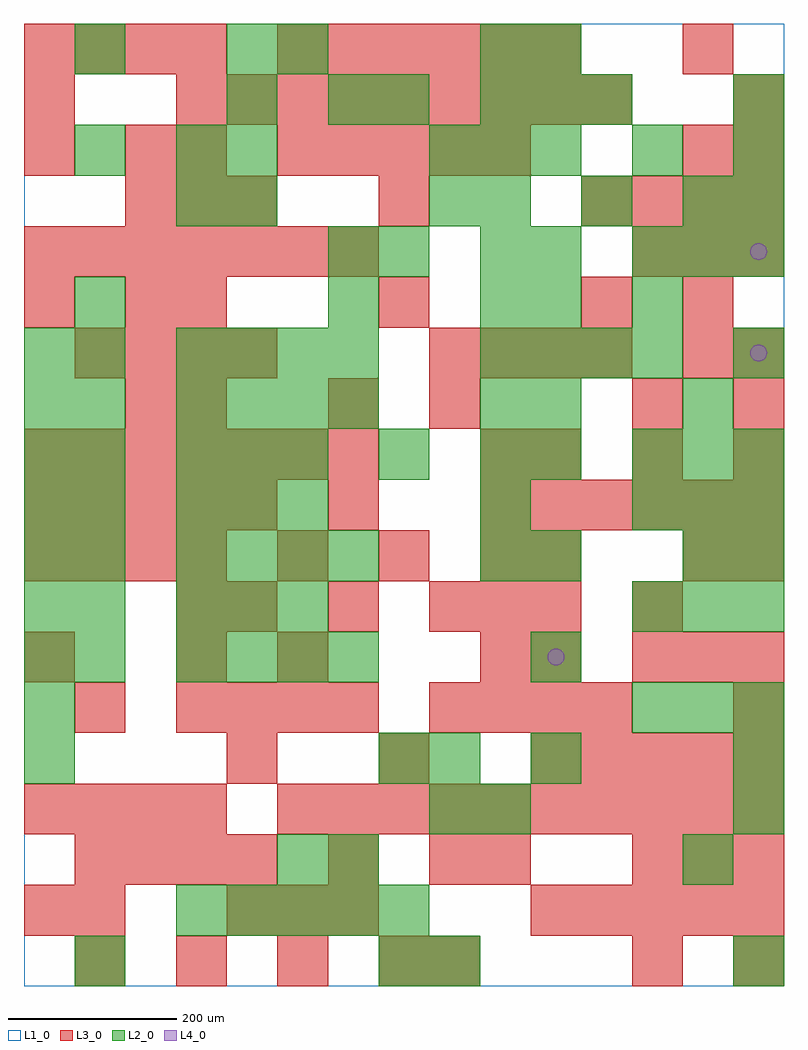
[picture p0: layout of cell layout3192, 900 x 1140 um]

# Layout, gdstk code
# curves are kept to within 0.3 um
import gdstk
lib = gdstk.Library(unit=1e-6, precision=1e-09)
def R(c, l, rs):  # rectangles x0, y0, x1, y1
    for r in rs: c.add(gdstk.rectangle(r[:2], r[2:], *l))
def A(c, l, x, y, w, h, nx, ny, dx, dy):  # array of equal rectangles
    R(c, l, [(x+i*dx, y+j*dy, x+i*dx+w, y+j*dy+h) for i in range(nx) for j in range(ny)])
def P(c, l, *ps):  # polygons
    for p in ps: c.add(gdstk.Polygon(p, *l))
L1_0 = (1, 0)
L2_0 = (2, 0)
L3_0 = (3, 0)
L4_0 = (4, 0)

layout3192 = lib.new_cell('layout3192')
R(layout3192, L1_0, [(0,0,900,1140)])
A(layout3192, L2_0, 180, 60, 60, 60, 5, 1, 60, 0)
A(layout3192, L2_0, 0, 240, 60, 60, 1, 9, 0, 60)
A(layout3192, L2_0, 600, 240, 60, 60, 1, 4, 0, 120)
A(layout3192, L2_0, 840, 240, 60, 60, 1, 3, 0, 240)
A(layout3192, L2_0, 720, 300, 60, 60, 3, 3, 60, 120)
A(layout3192, L2_0, 60, 360, 60, 60, 1, 8, 0, 60)
A(layout3192, L2_0, 180, 360, 60, 60, 4, 2, 60, 120)
A(layout3192, L2_0, 180, 420, 60, 60, 3, 2, 60, 120)
A(layout3192, L2_0, 540, 480, 60, 60, 1, 4, 0, 60)
A(layout3192, L2_0, 180, 600, 60, 60, 3, 1, 60, 0)
A(layout3192, L2_0, 720, 600, 60, 60, 3, 2, 60, 240)
A(layout3192, L2_0, 180, 660, 60, 60, 4, 2, 60, 60)
A(layout3192, L2_0, 540, 720, 60, 60, 4, 1, 60, 0)
A(layout3192, L2_0, 240, 900, 60, 60, 1, 4, 0, 60)
A(layout3192, L2_0, 540, 900, 60, 60, 3, 1, 120, 0)
A(layout3192, L2_0, 840, 900, 60, 60, 1, 3, 0, 60)
A(layout3192, L2_0, 480, 960, 60, 60, 3, 1, 60, 0)
A(layout3192, L2_0, 540, 1020, 60, 60, 3, 1, 60, 0)
R(layout3192, L2_0, [(60,0,120,60), (420,0,480,60), (480,0,540,60), (840,0,900,60), (300,120,360,180), (360,120,420,180), (780,120,840,180), (480,180,540,240), (540,180,600,240), (840,180,900,240), (420,240,480,300), (480,240,540,300), (780,480,840,540), (420,600,480,660), (600,660,660,720), (780,660,840,720), (360,780,420,840), (540,780,600,840), (600,780,660,840), (720,780,780,840), (360,840,420,900), (420,840,480,900), (540,840,600,900), (600,840,660,900), (180,900,240,960), (480,900,540,960), (60,960,120,1020), (180,960,240,1020), (720,960,780,1020), (360,1020,420,1080), (420,1020,480,1080), (60,1080,120,1140), (300,1080,360,1140), (540,1080,600,1140), (600,1080,660,1140)])
A(layout3192, L3_0, 60, 0, 60, 60, 4, 1, 120, 0)
A(layout3192, L3_0, 240, 60, 60, 60, 3, 1, 60, 0)
A(layout3192, L3_0, 600, 60, 60, 60, 5, 1, 60, 0)
A(layout3192, L3_0, 60, 120, 60, 60, 4, 2, 60, 600)
A(layout3192, L3_0, 720, 120, 60, 60, 3, 2, 60, 240)
A(layout3192, L3_0, 0, 180, 60, 60, 4, 2, 60, 300)
A(layout3192, L3_0, 300, 180, 60, 60, 10, 1, 60, 0)
A(layout3192, L3_0, 240, 240, 60, 60, 3, 1, 180, 0)
A(layout3192, L3_0, 660, 240, 60, 60, 4, 2, 60, 660)
A(layout3192, L3_0, 180, 300, 60, 60, 4, 1, 60, 0)
A(layout3192, L3_0, 480, 300, 60, 60, 4, 2, 60, 420)
A(layout3192, L3_0, 840, 300, 60, 60, 1, 3, 0, 180)
A(layout3192, L3_0, 600, 360, 60, 60, 1, 3, 0, 60)
A(layout3192, L3_0, 240, 420, 60, 60, 3, 1, 120, 0)
A(layout3192, L3_0, 300, 480, 60, 60, 3, 1, 120, 0)
A(layout3192, L3_0, 0, 540, 60, 60, 5, 1, 60, 0)
A(layout3192, L3_0, 540, 540, 60, 60, 6, 1, 60, 0)
A(layout3192, L3_0, 0, 600, 60, 60, 7, 2, 60, 240)
A(layout3192, L3_0, 600, 600, 60, 60, 3, 1, 120, 0)
A(layout3192, L3_0, 180, 780, 60, 60, 3, 1, 240, 0)
A(layout3192, L3_0, 720, 840, 60, 60, 3, 1, 60, 0)
A(layout3192, L3_0, 120, 900, 60, 60, 3, 1, 60, 0)
A(layout3192, L3_0, 300, 960, 60, 60, 5, 1, 60, 0)
A(layout3192, L3_0, 180, 1020, 60, 60, 9, 1, 60, 0)
A(layout3192, L3_0, 0, 1080, 60, 60, 4, 1, 60, 0)
A(layout3192, L3_0, 300, 1080, 60, 60, 6, 1, 60, 0)
R(layout3192, L3_0, [(480,0,540,60), (720,0,780,60), (840,0,900,60), (0,60,60,120), (60,60,120,120), (360,120,420,180), (480,120,540,180), (540,120,600,180), (60,300,120,360), (0,360,60,420), (180,360,240,420), (300,360,360,420), (540,360,600,420), (180,420,240,480), (540,420,600,480), (720,420,780,480), (780,480,840,540), (360,540,420,600), (540,600,600,660), (120,660,180,720), (180,660,240,720), (360,660,420,720), (480,660,540,720), (720,660,780,720), (780,720,840,780), (840,720,900,780), (0,780,60,840), (120,780,180,840), (780,780,840,840), (420,900,480,960), (0,960,60,1020), (120,960,180,1020), (180,960,240,1020), (780,960,840,1020), (840,960,900,1020), (0,1020,60,1080), (840,1020,900,1080), (780,1080,840,1140)])
P(layout3192, L4_0, [(640,390),(639.239,393.827),(637.071,397.071),(633.827,399.239),(630,400),(626.173,399.239),(622.929,397.071),(620.761,393.827),(620,390),(620.761,386.173),(622.929,382.929),(626.173,380.761),(630,380),(633.827,380.761),(637.071,382.929),(639.239,386.173)],
  [(880,750),(879.239,753.827),(877.071,757.071),(873.827,759.239),(870,760),(866.173,759.239),(862.929,757.071),(860.761,753.827),(860,750),(860.761,746.173),(862.929,742.929),(866.173,740.761),(870,740),(873.827,740.761),(877.071,742.929),(879.239,746.173)],
  [(880,870),(879.239,873.827),(877.071,877.071),(873.827,879.239),(870,880),(866.173,879.239),(862.929,877.071),(860.761,873.827),(860,870),(860.761,866.173),(862.929,862.929),(866.173,860.761),(870,860),(873.827,860.761),(877.071,862.929),(879.239,866.173)])

lib.write_gds('layout3192.gds')
